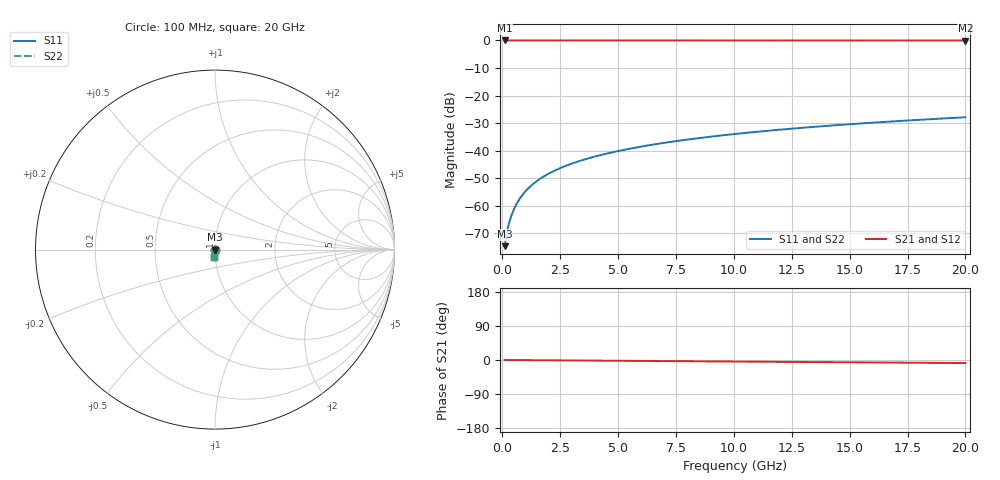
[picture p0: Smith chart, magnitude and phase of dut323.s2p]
! Touchstone file exported from HFSS 2026.1.0
!  File:  C:/ffzhzh/LocalFiles/Ansys_Project_Files/temp_train_TSV_323_1783018375_51716.aedt
!  Generated:  02:54:39 AM Jul  3, 2026
!  Design:  TSV
!  Project:  temp_train_TSV_323_1783018375_51716
! Variables:
!  h_bsmrdl = 2um
!  h_ox = 20um
!  h_rdl = 5um
!  h_sub = 80.35um
!  h_tmrdl = 5um
!  h_tsv = 80.35um
!  h_via = 3um
!  l_bsmrdl = 300um
!  l_sub = 424.78um
!  l_tmrdl = 200um
!  m_sub = 200um
!  pitch = 38.26um
!  r_tsv = 12.39um
!  s_tmrdl = 10um
!  w_bsmrdl = 18um
!  w_sub = 500um
!  w_tmrdl = 12um
!  x_tsv_center1 = 206um
!  x_tsv_center2 = 524um
!  x_tsv_center3 = 736um
!  x_tsv_center4 = 1054um
!  x_tsv_center5 = 1266um
!  x_tsv_center6 = 1584um
# GHz S MA R 50.000000
! Terminal data exported
! Port[1] = TSV1_1_T1
! Port[2] = TSV1_1_T2
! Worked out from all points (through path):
!   200 points, 100 MHz to 20 GHz, reference 50 ohm
!   highest |S21| = 0.00 dB at 100 MHz (marker M1); lowest = 0.0 dB at 20 GHz (marker M2)
!   group delay of S21, straight-line fit = 1.12 ps
!   lowest |S11| = -74.7 dB at 100 MHz (marker M3), VSWR 1.00, Z = 50 - j0.0156 ohm
!   |S11| at or under -10 dB: start of sweep to end of sweep
!   |S22| runs from -74.7 to -27.9 dB; largest |S21 - S12| = 2e-15
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0.1  0.0001842 -57.7  0.9999 -0.0  0.9999 -0.0  0.0001842 -57.7
! Gamma 0 0 0 0
! Port Impedance 50 0 50 0
0.2  0.0003349 -70.3  0.9999 -0.1  0.9999 -0.1  0.0003349 -70.3
0.3  0.0004999 -74.5  0.9999 -0.1  0.9999 -0.1  0.0004999 -74.5
0.4  0.0006743 -76.4  0.9998 -0.2  0.9998 -0.2  0.0006743 -76.4
0.5  0.0008563 -77.6  0.9998 -0.2  0.9998 -0.2  0.0008563 -77.6
0.7  0.001236 -79.3  0.9998 -0.3  0.9998 -0.3  0.001236 -79.3
0.8  0.001431 -80.0  0.9997 -0.3  0.9997 -0.3  0.001431 -80.0
1  0.001825 -81.2  0.9997 -0.4  0.9997 -0.4  0.001825 -81.2
1.2  0.002222 -82.2  0.9997 -0.5  0.9997 -0.5  0.002222 -82.2
1.4  0.00262 -83.1  0.9997 -0.6  0.9997 -0.6  0.00262 -83.1
1.7  0.003217 -84.1  0.9996 -0.7  0.9996 -0.7  0.003217 -84.1
2  0.003814 -84.9  0.9996 -0.8  0.9996 -0.8  0.003814 -84.9
2.7  0.005206 -86.2  0.9995 -1.1  0.9995 -1.1  0.005206 -86.2
3.5  0.006802 -87.2  0.9995 -1.4  0.9995 -1.4  0.006802 -87.2
4.2  0.008203 -87.9  0.9994 -1.7  0.9994 -1.7  0.008203 -87.9
5  0.009812 -88.5  0.9993 -2.0  0.9993 -2.0  0.009812 -88.5
6.8  0.01345 -89.7  0.9992 -2.8  0.9992 -2.8  0.01345 -89.7
8.3  0.0165 -90.6  0.9991 -3.4  0.9991 -3.4  0.0165 -90.6
10.1  0.02016 -91.6  0.9989 -4.1  0.9989 -4.1  0.02016 -91.6
13.4  0.02687 -93.3  0.9986 -5.4  0.9986 -5.4  0.02687 -93.3
16.7  0.03359 -94.9  0.9983 -6.8  0.9983 -6.8  0.03359 -94.9
20  0.04031 -96.3  0.998 -8.1  0.998 -8.1  0.04031 -96.3
